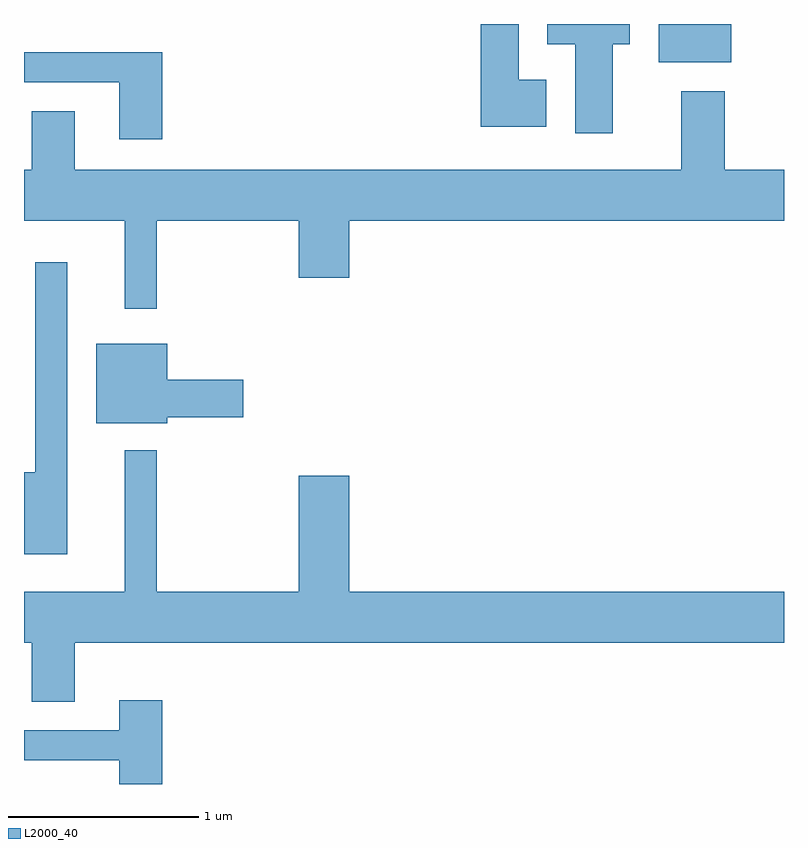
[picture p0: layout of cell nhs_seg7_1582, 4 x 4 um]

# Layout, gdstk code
import gdstk
lib = gdstk.Library(unit=1e-6, precision=1e-09)
def R(c, l, rs):  # rectangles x0, y0, x1, y1
    for r in rs: c.add(gdstk.rectangle(r[:2], r[2:], *l))
def P(c, l, *ps):  # polygons
    for p in ps: c.add(gdstk.Polygon(p, *l))
L2000_40 = (2000, 40)

nhs_seg7_1582 = lib.new_cell('nhs_seg7_1582')
R(nhs_seg7_1582, L2000_40, [(236.951,1704.051,237.334,1704.252)])
P(nhs_seg7_1582, L2000_40, [(236.709,1704.146),(236.799,1704.146),(236.799,1704.252),(236.366,1704.252),(236.366,1704.146),(236.511,1704.146),(236.511,1703.676),(236.709,1703.676)],
  [(236.359,1703.959),(236.214,1703.959),(236.214,1704.252),(236.016,1704.252),(236.016,1703.711),(236.359,1703.711)],
  [(234.339,1704.104),(233.611,1704.104),(233.611,1703.946),(234.111,1703.946),(234.111,1703.646),(234.339,1703.646)],
  [(234.141,1702.753),(234.309,1702.753),(234.309,1703.216),(235.056,1703.216),(235.056,1702.916),(235.324,1702.916),(235.324,1703.216),(237.611,1703.216),(237.611,1703.484),(237.299,1703.484),(237.299,1703.899),(237.071,1703.899),(237.071,1703.484),(233.879,1703.484),(233.879,1703.794),(233.651,1703.794),(233.651,1703.484),(233.611,1703.484),(233.611,1703.216),(234.141,1703.216)],
  [(233.839,1702.998),(233.671,1702.998),(233.671,1701.894),(233.611,1701.894),(233.611,1701.461),(233.839,1701.461)],
  [(234.364,1702.181),(234.764,1702.181),(234.764,1702.379),(234.364,1702.379),(234.364,1702.569),(233.991,1702.569),(233.991,1702.151),(234.364,1702.151)],
  [(233.611,1700.996),(233.651,1700.996),(233.651,1700.686),(233.879,1700.686),(233.879,1700.996),(237.611,1700.996),(237.611,1701.264),(235.324,1701.264),(235.324,1701.874),(235.056,1701.874),(235.056,1701.264),(234.309,1701.264),(234.309,1702.008),(234.141,1702.008),(234.141,1701.264),(233.611,1701.264)],
  [(234.339,1700.694),(234.111,1700.694),(234.111,1700.534),(233.611,1700.534),(233.611,1700.376),(234.111,1700.376),(234.111,1700.252),(234.339,1700.252)])

lib.write_gds('nhs_seg7_1582.gds')
